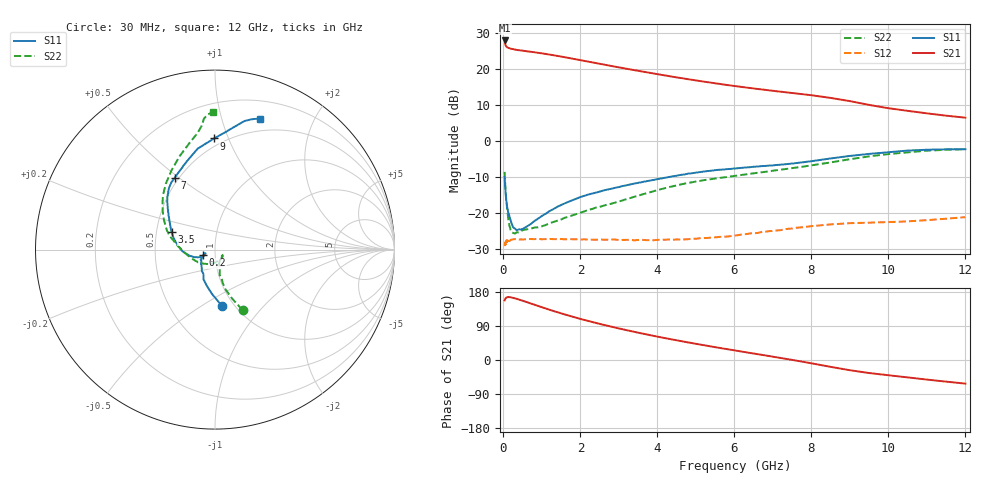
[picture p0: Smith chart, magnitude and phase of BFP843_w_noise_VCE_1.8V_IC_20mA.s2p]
! Infineon Technologies  Discrete & RF Semiconductors
! BFP843
! VCE =  1.8 V,  IC =  20 mA
! Common Emitter S-Parameters:  Aug 2013
# GHz  S  MA  R  50
!  f  S11  S21  S12  S22
! GHz  MAG  ANG  MAG  ANG  MAG  ANG  MAG  ANG
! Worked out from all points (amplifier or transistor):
!   103 points, 30 MHz to 12 GHz, reference 50 ohm
!   highest |S21| = 28.0 dB at 30 MHz (marker M1)
!   |S21| within 3 dB of that: start of sweep to 603.5 MHz
!   unconditionally stable (mu >= 1): 112.9 MHz to 10.8 GHz
!   at 400 MHz: K = 1.03, MAG = 25.4 dB, |S12| = -27.5 dB
!   at 3.7 GHz: K = 1.38, MAG = 19.7 dB, |S12| = -27.6 dB
!   at 12 GHz: K = 0.86, MSG = 13.8 dB, |S12| = -21.2 dB
!   lowest NFmin = 1.04 dB at 450 MHz
!   S11 on the Smith chart (normalised r, x): 30 MHz: 0.88, -0.61; 200 MHz: 0.87, -0.05; 3.5 GHz: 0.60, +0.13; 7 GHz: 0.48, +0.48; 9 GHz: 0.44, +0.89; 12 GHz: 0.38, +1.34
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0.03  0.316 -83.0  25.07 157.3  0.0343 25.9  0.3707 -65.5
0.04  0.2494 -93.5  23.05 159.3  0.0385 21.4  0.2868 -70.9
0.05  0.211 -101.7  21.98 162.2  0.0389 13.8  0.23 -75.1
0.07  0.1504 -115.5  20.7 164.4  0.035 16.2  0.1586 -77.2
0.1  0.1151 -131.1  20.07 165.9  0.0398 11.0  0.1043 -77.0
0.13  0.0992 -140.0  19.79 166.4  0.0391 9.0  0.0782 -74.0
0.2  0.0741 -155.1  19.17 165.3  0.0422 5.7  0.0539 -54.9
0.8  0.0764 -150.9  17.19 146.1  0.0429 2.1  0.0623 -60.0
1.2  0.1059 -155.8  15.93 132.5  0.0433 1.0  0.0717 -87.6
1.6  0.1358 -164.1  14.63 120.0  0.0427 -0.1  0.0856 -110.5
2.1  0.1724 -174.7  13.03 105.7  0.0427 0.1  0.1045 -132.7
2.5  0.1972 177.0  11.87 95.3  0.0427 -0.7  0.121 -147.2
2.8  0.216 170.9  11.07 88.0  0.0424 0.7  0.1336 -155.9
3.5  0.2609 157.8  9.48 72.1  0.0419 1.4  0.1726 -175.5
4.1  0.301 147.7  8.334 59.7  0.0421 3.5  0.2139 172.6
5  0.3624 136.9  6.966 42.7  0.0435 6.3  0.2725 161.3
6.1  0.4178 128.5  5.733 23.7  0.0488 10.1  0.3314 149.3
7  0.4571 119.5  4.992 8.7  0.0558 9.6  0.3854 139.4
8.5  0.5708 99.7  3.974 -18.1  0.0689 2.3  0.5028 118.9
9  0.6191 90.5  3.585 -27.0  0.0717 -1.5  0.5567 110.7
10.5  0.7348 77.1  2.627 -45.9  0.0759 -8.1  0.6944 96.1
12  0.768 70.9  2.109 -62.3  0.087 -15.0  0.7676 90.7
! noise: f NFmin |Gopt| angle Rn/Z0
0.45  1.04  0.12  -173  0.04
0.9  1.05  0.12  -165  0.07
1.5  1.06  0.13  -157  0.15
1.9  1.08  0.13  -147  0.21
2.4  1.11  0.12  -135  0.27
3.5  1.15  0.11  -117  0.32
5.5  1.25  0.25  -110  0.41
10  1.83  0.52  -61  0.54
